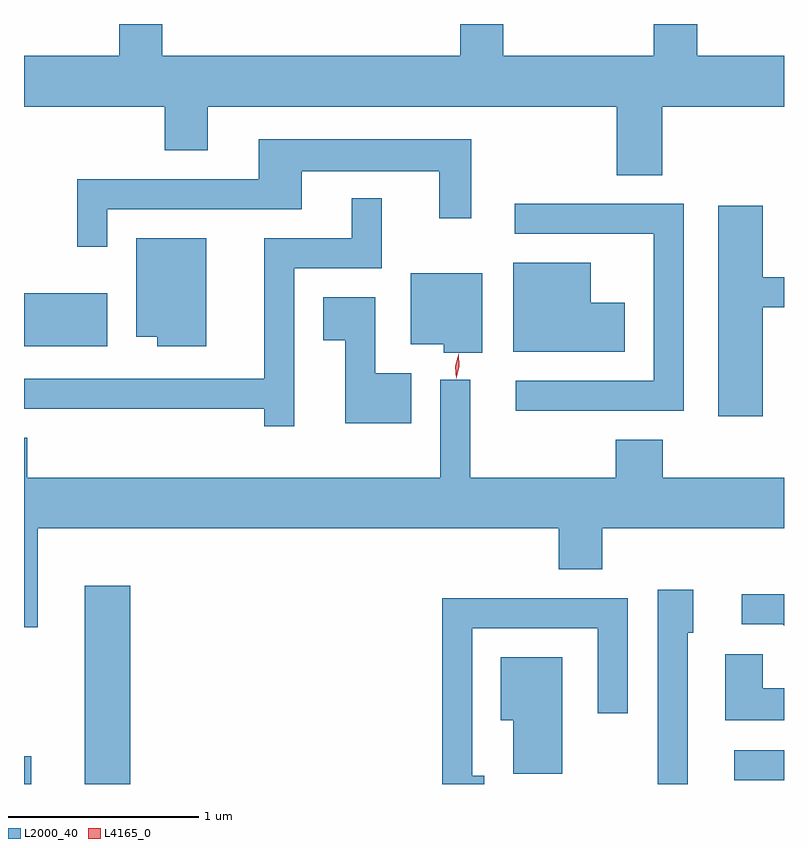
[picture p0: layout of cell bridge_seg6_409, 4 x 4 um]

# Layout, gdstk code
import gdstk
lib = gdstk.Library(unit=1e-6, precision=1e-09)
def R(c, l, rs):  # rectangles x0, y0, x1, y1
    for r in rs: c.add(gdstk.rectangle(r[:2], r[2:], *l))
def P(c, l, *ps):  # polygons
    for p in ps: c.add(gdstk.Polygon(p, *l))
L2000_40 = (2000, 40)
L4165_0 = (4165, 0)

bridge_seg6_409 = lib.new_cell('bridge_seg6_409')
R(bridge_seg6_409, L2000_40, [(883.896,1604.191,883.934,1604.338), (884.216,1604.191,884.454,1605.234), (887.633,1604.211,887.896,1604.369), (883.896,1606.496,884.334,1606.774)])
P(bridge_seg6_409, L2000_40, [(887.254,1607.756),(887.896,1607.756),(887.896,1608.024),(887.439,1608.024),(887.439,1608.191),(887.211,1608.191),(887.211,1608.024),(886.419,1608.024),(886.419,1608.191),(886.191,1608.191),(886.191,1608.024),(884.624,1608.024),(884.624,1608.191),(884.396,1608.191),(884.396,1608.024),(883.896,1608.024),(883.896,1607.756),(884.636,1607.756),(884.636,1607.526),(884.864,1607.526),(884.864,1607.756),(887.016,1607.756),(887.016,1607.396),(887.254,1607.396)],
  [(884.334,1607.216),(885.359,1607.216),(885.359,1607.416),(886.081,1607.416),(886.081,1607.168),(886.249,1607.168),(886.249,1607.584),(885.131,1607.584),(885.131,1607.374),(884.176,1607.374),(884.176,1607.018),(884.334,1607.018)],
  [(885.319,1606.906),(885.779,1606.906),(885.779,1607.273),(885.621,1607.273),(885.621,1607.064),(885.161,1607.064),(885.161,1606.324),(883.896,1606.324),(883.896,1606.166),(885.161,1606.166),(885.161,1606.073),(885.319,1606.073)],
  [(887.369,1607.244),(886.478,1607.244),(886.478,1607.086),(887.211,1607.086),(887.211,1606.314),(886.483,1606.314),(886.483,1606.156),(887.369,1606.156)],
  [(887.784,1606.701),(887.896,1606.701),(887.896,1606.859),(887.784,1606.859),(887.784,1607.234),(887.551,1607.234),(887.551,1606.126),(887.784,1606.126)],
  [(884.854,1607.064),(884.486,1607.064),(884.486,1606.546),(884.596,1606.546),(884.596,1606.496),(884.854,1606.496)],
  [(887.059,1606.724),(886.879,1606.724),(886.879,1606.934),(886.471,1606.934),(886.471,1606.466),(887.059,1606.466)],
  [(886.309,1606.879),(885.931,1606.879),(885.931,1606.506),(886.106,1606.506),(886.106,1606.461),(886.309,1606.461)],
  [(885.934,1606.354),(885.744,1606.354),(885.744,1606.754),(885.471,1606.754),(885.471,1606.526),(885.586,1606.526),(885.586,1606.091),(885.934,1606.091)],
  [(883.969,1605.536),(886.711,1605.536),(886.711,1605.321),(886.939,1605.321),(886.939,1605.536),(887.896,1605.536),(887.896,1605.804),(887.259,1605.804),(887.259,1606.004),(887.011,1606.004),(887.011,1605.804),(886.244,1605.804),(886.244,1606.318),(886.086,1606.318),(886.086,1605.804),(883.914,1605.804),(883.914,1606.014),(883.896,1606.014),(883.896,1605.016),(883.969,1605.016)],
  [(887.389,1604.986),(887.419,1604.986),(887.419,1605.214),(887.231,1605.214),(887.231,1604.191),(887.389,1604.191)],
  [(887.896,1605.189),(887.673,1605.189),(887.673,1605.031),(887.889,1605.031),(887.896,1605.024)],
  [(886.319,1604.234),(886.254,1604.234),(886.254,1605.011),(886.916,1605.011),(886.916,1604.563),(887.074,1604.563),(887.074,1605.169),(886.096,1605.169),(886.096,1604.191),(886.319,1604.191)],
  [(887.896,1604.694),(887.784,1604.694),(887.784,1604.874),(887.586,1604.874),(887.586,1604.526),(887.896,1604.526)],
  [(886.729,1604.859),(886.406,1604.859),(886.406,1604.526),(886.471,1604.526),(886.471,1604.246),(886.729,1604.246)])
P(bridge_seg6_409, L4165_0, [(886.17,1606.323),(886.17,1606.323),(886.167,1606.39),(886.183,1606.455),(886.183,1606.456),(886.184,1606.455),(886.187,1606.388),(886.171,1606.323)])

lib.write_gds('bridge_seg6_409.gds')
